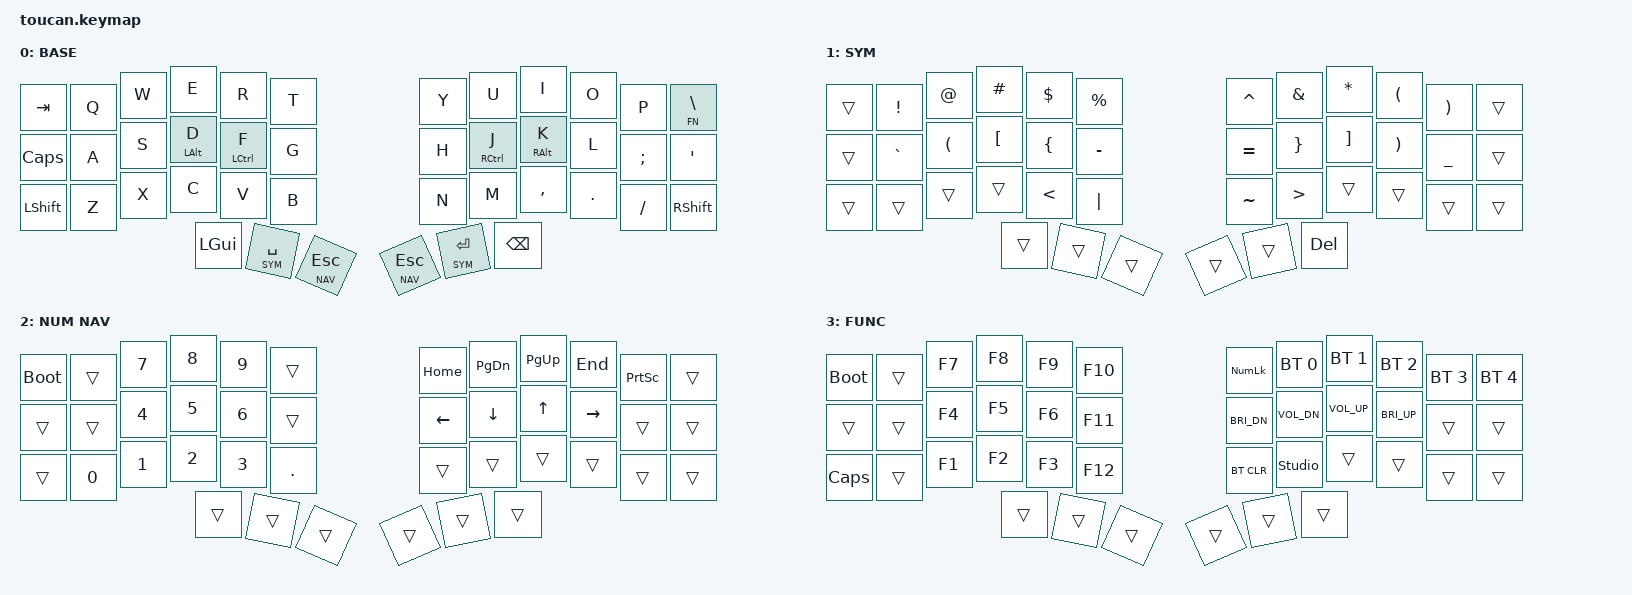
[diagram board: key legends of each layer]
#include <behaviors.dtsi>
#include <dt-bindings/zmk/keys.h>
#include <dt-bindings/zmk/bt.h>
#include <dt-bindings/zmk/outputs.h>

#define BASE 0
#define SYM  1
#define NAV  2
#define FN   3

/ {
    behaviors {
        hm: homerow_mods {
            compatible = "zmk,behavior-hold-tap";
            #binding-cells = <2>;
            tapping-term-ms = <200>;
            quick-tap-ms = <200>;
            flavor = "tap-preferred";
            bindings = <&kp>, <&kp>;
        };
    };

    keymap {
        compatible = "zmk,keymap";

        base {
            display-name = "BASE";
            bindings = <
                &kp TAB    &kp Q  &kp W  &kp E      &kp R        &kp T          &kp Y       &kp U        &kp I       &kp O    &kp P     &lt FN BSLH
                &kp CAPS   &kp A  &kp S  &hm LALT D &hm LCTRL F  &kp G          &kp H       &hm RCTRL J  &hm RALT K  &kp L    &kp SEMI  &kp SQT
                &kp LSHFT  &kp Z  &kp X  &kp C      &kp V        &kp B          &kp N       &kp M        &kp COMMA   &kp DOT  &kp FSLH  &kp RSHFT
                                          &kp LGUI   &lt SYM SPACE &lt NAV ESC   &lt NAV ESC &lt SYM RET  &kp BSPC
            >;
        };

        sym {
            display-name = "SYM";
            bindings = <
                &trans  &kp EXCL   &kp AT    &kp HASH  &kp DLLR       &kp PRCNT      &kp CARET  &kp AMPS  &kp STAR   &kp LPAR  &kp RPAR   &trans
                &trans  &kp GRAVE  &kp LPAR  &kp LBKT  &kp LBRC       &kp MINUS      &kp EQUAL  &kp RBRC  &kp RBKT   &kp RPAR  &kp UNDER  &trans
                &trans  &trans     &trans    &trans    &kp LESS_THAN  &kp PIPE       &kp TILDE  &kp GT    &trans     &trans    &trans     &trans
                                             &trans    &trans         &trans         &trans     &trans    &kp DEL
            >;
        };

        nav {
            display-name = "NUM NAV";
            bindings = <
                &bootloader &trans  &kp N7  &kp N8  &kp N9  &trans       &kp HOME  &kp PG_DN  &kp PG_UP  &kp END    &kp PSCRN  &trans
                &trans      &trans  &kp N4  &kp N5  &kp N6  &trans       &kp LEFT  &kp DOWN   &kp UP     &kp RIGHT  &trans     &trans
                &trans      &kp N0  &kp N1  &kp N2  &kp N3  &kp DOT      &trans    &trans     &trans     &trans     &trans     &trans
                                            &trans  &trans  &trans       &trans    &trans     &trans
            >;
        };

        fn {
            display-name = "FUNC";
            bindings = <
                &bootloader &trans  &kp F7  &kp F8  &kp F9  &kp F10      &kp KP_NUM    &bt BT_SEL 0  &bt BT_SEL 1  &bt BT_SEL 2  &bt BT_SEL 3  &bt BT_SEL 4
                &trans      &trans  &kp F4  &kp F5  &kp F6  &kp F11      &kp C_BRI_DN  &kp C_VOL_DN  &kp C_VOL_UP  &kp C_BRI_UP  &trans        &trans
                &kp CAPS    &trans  &kp F1  &kp F2  &kp F3  &kp F12      &bt BT_CLR    &studio_unlock &trans        &trans        &trans        &trans
                                            &trans  &trans  &trans       &trans        &trans         &trans
            >;
        };

        extra_1 {
                status = "reserved";
        };

        extra_2 {
                status = "reserved";
        };

        extra_3 {
                status = "reserved";
        };
    };
};
